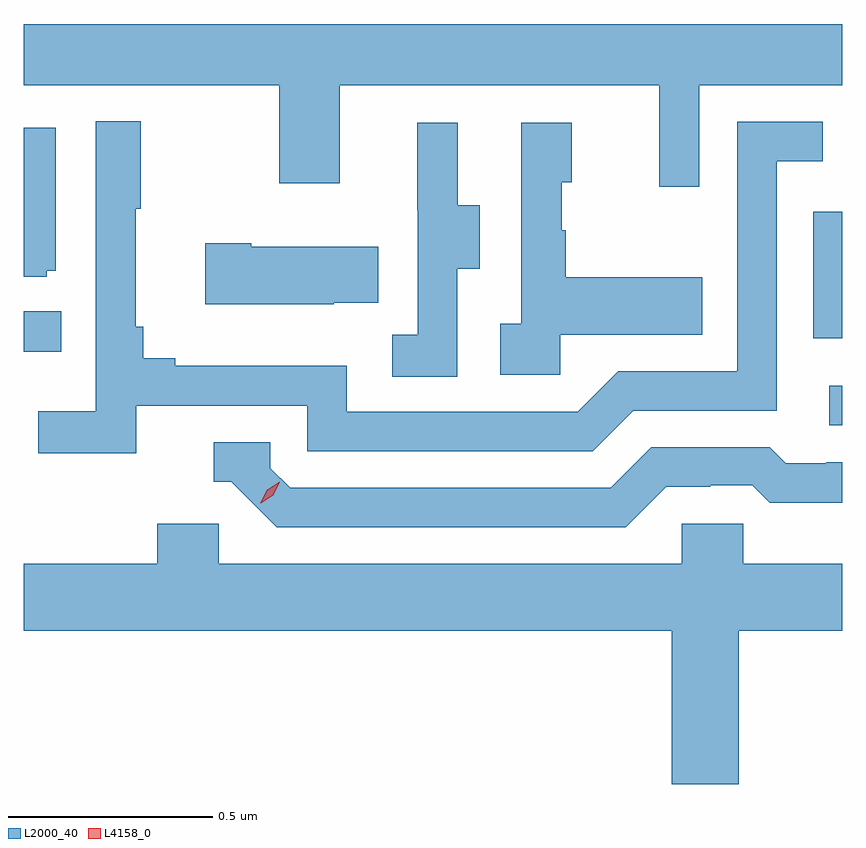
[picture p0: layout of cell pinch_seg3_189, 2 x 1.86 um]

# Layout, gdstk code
import gdstk
lib = gdstk.Library(unit=1e-6, precision=1e-09)
def R(c, l, rs):  # rectangles x0, y0, x1, y1
    for r in rs: c.add(gdstk.rectangle(r[:2], r[2:], *l))
def P(c, l, *ps):  # polygons
    for p in ps: c.add(gdstk.Polygon(p, *l))
L2000_40 = (2000, 40)
L4158_0 = (4158, 0)

pinch_seg3_189 = lib.new_cell('pinch_seg3_189')
R(pinch_seg3_189, L2000_40, [(1016.541,730.722,1016.573,730.818), (1014.573,730.901,1014.665,731), (1016.502,730.935,1016.573,731.244)])
P(pinch_seg3_189, L2000_40, [(1016.223,731.552),(1016.573,731.552),(1016.573,731.702),(1014.573,731.702),(1014.573,731.552),(1015.198,731.552),(1015.198,731.313),(1015.345,731.313),(1015.345,731.552),(1016.126,731.552),(1016.126,731.304),(1016.223,731.304)],
  [(1014.848,730.77),(1015.266,730.77),(1015.266,730.659),(1015.963,730.659),(1016.062,730.758),(1016.412,730.758),(1016.412,731.367),(1016.525,731.367),(1016.525,731.463),(1016.316,731.463),(1016.316,730.854),(1016.025,730.854),(1015.926,730.755),(1015.362,730.755),(1015.362,730.867),(1014.943,730.867),(1014.943,730.886),(1014.866,730.886),(1014.866,730.963),(1014.847,730.963),(1014.847,731.251),(1014.859,731.251),(1014.859,731.464),(1014.75,731.464),(1014.75,730.756),(1014.609,730.756),(1014.609,730.654),(1014.848,730.654)],
  [(1015.884,730.943),(1016.231,730.943),(1016.231,731.083),(1015.897,731.083),(1015.897,731.198),(1015.887,731.198),(1015.887,731.316),(1015.912,731.316),(1015.912,731.461),(1015.788,731.461),(1015.788,730.97),(1015.737,730.97),(1015.737,730.845),(1015.884,730.845)],
  [(1015.632,731.104),(1015.687,731.104),(1015.687,731.259),(1015.633,731.259),(1015.633,731.461),(1015.535,731.461),(1015.535,731.247),(1015.536,731.247),(1015.536,730.943),(1015.473,730.943),(1015.473,730.84),(1015.632,730.84)],
  [(1014.63,731.1),(1014.652,731.1),(1014.652,731.449),(1014.573,731.449),(1014.573,731.085),(1014.63,731.085)],
  [(1015.331,731.021),(1015.439,731.021),(1015.439,731.158),(1015.129,731.158),(1015.129,731.166),(1015.017,731.166),(1015.017,731.018),(1015.331,731.018)],
  [(1016.143,730.572),(1016.25,730.572),(1016.25,730.575),(1016.353,730.575),(1016.395,730.533),(1016.573,730.533),(1016.573,730.632),(1016.533,730.632),(1016.533,730.629),(1016.434,730.629),(1016.395,730.668),(1016.106,730.668),(1016.007,730.569),(1015.224,730.569),(1015.176,730.617),(1015.176,730.68),(1015.037,730.68),(1015.037,730.584),(1015.08,730.584),(1015.191,730.473),(1016.044,730.473)],
  [(1016.32,730.22),(1016.573,730.22),(1016.573,730.384),(1016.331,730.384),(1016.331,730.482),(1016.181,730.482),(1016.181,730.384),(1015.05,730.384),(1015.05,730.482),(1014.899,730.482),(1014.899,730.384),(1014.573,730.384),(1014.573,730.22),(1016.156,730.22),(1016.156,729.846),(1016.32,729.846)])
P(pinch_seg3_189, L4158_0, [(1015.151,730.532),(1015.151,730.532),(1015.168,730.565),(1015.199,730.584),(1015.199,730.584),(1015.199,730.584),(1015.183,730.551),(1015.152,730.532)])

lib.write_gds('pinch_seg3_189.gds')
